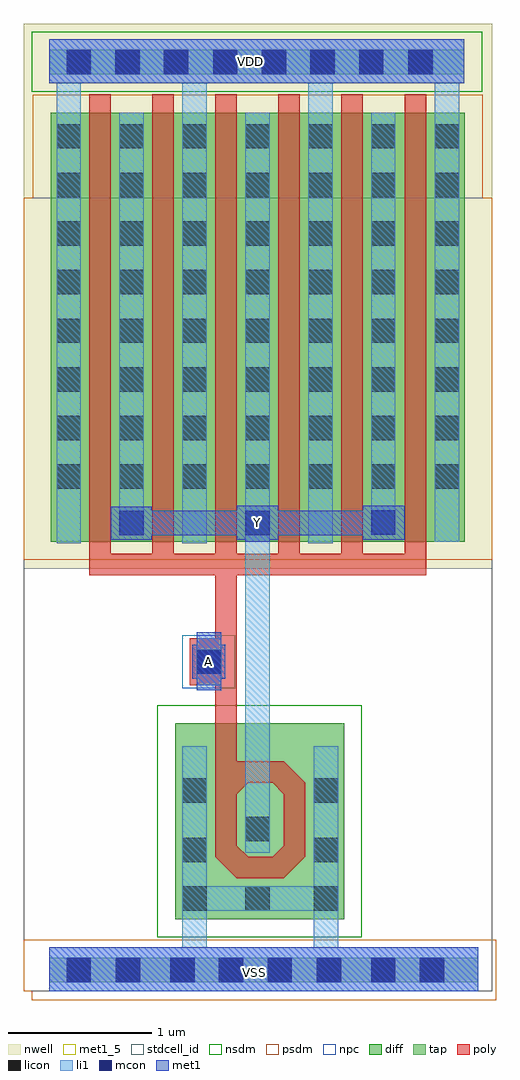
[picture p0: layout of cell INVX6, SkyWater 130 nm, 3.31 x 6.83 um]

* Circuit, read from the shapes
.subckt INVX6 A VDD VSS Y
XM1 VSS A Y VSS sky130_fd_pr__nfet_01v8 w=2.49 l=0.1473
XM2 Y A VDD VDD sky130_fd_pr__pfet_01v8 w=3 l=0.15 m=6
.ends

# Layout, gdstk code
import gdstk
lib = gdstk.Library(unit=1e-6, precision=1e-09)
def R(c, l, rs):  # rectangles x0, y0, x1, y1
    for r in rs: c.add(gdstk.rectangle(r[:2], r[2:], *l))
def A(c, l, x, y, w, h, nx, ny, dx, dy):  # array of equal rectangles
    R(c, l, [(x+i*dx, y+j*dy, x+i*dx+w, y+j*dy+h) for i in range(nx) for j in range(ny)])
def P(c, l, *ps):  # polygons
    for p in ps: c.add(gdstk.Polygon(p, *l))
nwell = (64, 20)
diff = (65, 20)
tap = (65, 44)
poly = (66, 20)
licon = (66, 44)
li1 = (67, 20)
mcon = (67, 44)
met1_5 = (68, 5)
met1 = (68, 20)
stdcell_id = (81, 4)
nsdm = (93, 44)
psdm = (94, 20)
npc = (95, 20)

invx6 = lib.new_cell('INVX6')
R(invx6, nwell, [(-0.18,2.955,3.095,6.765)])
R(invx6, diff, [(0.88,0.505,2.06,1.875), (0.01,3.145,2.905,6.145)])
R(invx6, tap, [(0,0.065,3,0.235), (0,6.415,2.9,6.585)])
A(invx6, poly, 0.28, 3.06, 0.15, 3.215, 5, 1, 0.44, 0)
R(invx6, poly, [(1.31,0.79,1.64,0.94), (1.16,0.94,1.31,1.46), (1.64,0.94,1.79,1.46), (1.16,1.46,1.64,1.61), (1.16,1.61,1.31,2.14), (0.98,2.14,1.31,2.47), (1.16,2.47,1.31,2.91), (0.28,2.91,2.635,3.06), (2.485,3.06,2.635,6.275)])
P(invx6, poly, [(1.64,1.61),(1.64,1.46),(1.79,1.46)],
  [(1.31,1.38),(1.31,1.46),(1.39,1.46)],
  [(1.56,1.46),(1.64,1.46),(1.64,1.38)],
  [(1.31,1.02),(1.31,0.94),(1.39,0.94)],
  [(1.56,0.94),(1.64,0.94),(1.64,1.02)],
  [(1.16,0.94),(1.31,0.94),(1.31,0.79)],
  [(1.64,0.79),(1.64,0.94),(1.79,0.94)])
A(invx6, licon, 0.845, 0.065, 0.17, 0.17, 3, 1, 0.34, 0)
A(invx6, licon, 0.05, 3.515, 0.17, 0.17, 6, 8, 0.44, 0.34)
A(invx6, licon, 2.695, 3.515, 0.17, 0.17, 1, 8, 0, 0.34)
A(invx6, licon, 0.12, 6.415, 0.17, 0.17, 3, 1, 0.34, 0)
A(invx6, licon, 1.145, 6.415, 0.17, 0.17, 4, 1, 0.34, 0)
R(invx6, licon, [(0.12,0.065,0.29,0.235), (0.465,0.065,0.635,0.235), (1.87,0.065,2.04,0.235), (2.25,0.065,2.42,0.235), (2.59,0.065,2.76,0.235), (0.93,0.565,1.1,0.735), (1.37,0.565,1.54,0.735), (1.85,0.565,2.02,0.735), (0.93,0.905,1.1,1.075), (1.85,0.905,2.02,1.075), (1.37,1.05,1.54,1.22), (0.93,1.32,1.1,1.49), (1.85,1.32,2.02,1.49), (1.03,2.22,1.2,2.39), (2.51,6.415,2.68,6.585)])
A(invx6, li1, 0.05, 3.135, 0.17, 3.215, 3, 1, 0.88, 0)
R(invx6, li1, [(0,0,3,0.31), (0.93,0.31,1.1,0.565), (1.85,0.31,2.02,0.565), (0.93,0.565,2.02,0.735), (0.93,0.735,1.1,1.715), (1.85,0.735,2.02,1.715), (1.37,0.97,1.54,6.145), (1.03,2.14,1.2,2.47), (2.695,3.145,2.865,6.35), (0.49,3.19,0.66,6.145), (2.25,3.195,2.42,6.145), (0,6.35,2.9,6.66)])
A(invx6, mcon, 0.845, 0.065, 0.17, 0.17, 3, 1, 0.34, 0)
A(invx6, mcon, 0.12, 6.415, 0.17, 0.17, 3, 1, 0.34, 0)
A(invx6, mcon, 1.145, 6.415, 0.17, 0.17, 4, 1, 0.34, 0)
R(invx6, mcon, [(0.12,0.065,0.29,0.235), (0.465,0.065,0.635,0.235), (1.87,0.065,2.04,0.235), (2.25,0.065,2.42,0.235), (2.59,0.065,2.76,0.235), (1.03,2.22,1.2,2.39), (0.49,3.19,0.66,3.36), (1.37,3.19,1.54,3.36), (2.25,3.195,2.42,3.365), (2.51,6.415,2.68,6.585)])
R(invx6, met1_5, [(1.03,2.22,1.2,2.39), (1.37,3.19,1.54,3.365)])
R(invx6, met1, [(0,0,3,0.31), (1.03,2.105,1.2,2.185), (1,2.185,1.23,2.425), (1.03,2.425,1.2,2.51), (1.37,3.145,1.54,3.16), (0.43,3.16,0.715,3.19), (1.31,3.16,1.6,3.19), (2.19,3.16,2.485,3.19), (0.43,3.19,2.485,3.36), (0.43,3.36,0.715,3.39), (1.31,3.36,1.6,3.395), (2.19,3.36,2.485,3.395), (0,6.35,2.9,6.66)])
R(invx6, stdcell_id, [(-0.18,0,3.095,5.55)])
R(invx6, nsdm, [(0.755,0.38,2.185,2), (-0.125,6.29,3.025,6.71)])
R(invx6, psdm, [(-0.125,-0.06,3.125,0), (-0.18,0,3.125,0.36), (-0.18,3.02,3.095,5.55), (-0.115,5.55,3.03,6.27)])
R(invx6, npc, [(0.93,2.12,1.3,2.49)])
invx6.add(gdstk.Label('A', (1.115,2.305), layer=68, texttype=5))
invx6.add(gdstk.Label('VDD', (1.405,6.505), layer=68, texttype=5))
invx6.add(gdstk.Label('VSS', (1.435,0.13), layer=68, texttype=5))
invx6.add(gdstk.Label('Y', (1.455,3.277), layer=68, texttype=5))

lib.write_gds('INVX6.gds')
